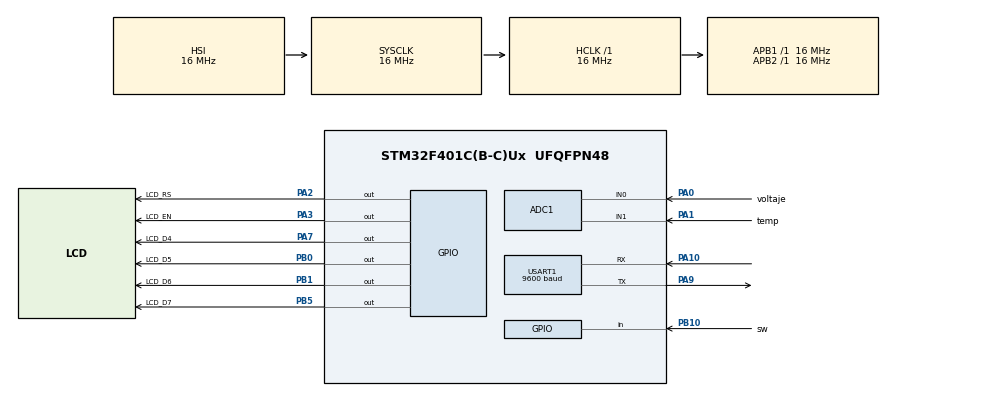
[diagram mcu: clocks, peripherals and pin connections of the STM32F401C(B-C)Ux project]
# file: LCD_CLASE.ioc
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ADC1.Channel-6\#ChannelRegularConversion=ADC_CHANNEL_0
ADC1.Channel-7\#ChannelRegularConversion=ADC_CHANNEL_1
ADC1.DiscontinuousConvMode=ENABLE
ADC1.NbrOfConversion=2
ADC1.NbrOfConversionFlag=1
ADC1.NbrOfDiscConversion=1
ADC1.Rank-6\#ChannelRegularConversion=1
ADC1.Rank-7\#ChannelRegularConversion=2
ADC1.SamplingTime-6\#ChannelRegularConversion=ADC_SAMPLETIME_3CYCLES
ADC1.SamplingTime-7\#ChannelRegularConversion=ADC_SAMPLETIME_3CYCLES
ADC1.ScanConvMode=ENABLE
ADC1.master=1
Mcu.Family=STM32F4
Mcu.Name=STM32F401C(B-C)Ux
Mcu.Package=UFQFPN48
Mcu.UserConstants=adc1,$$_ADC1_IP_HANDLE_$$
NVIC.PriorityGroup=NVIC_PRIORITYGROUP_4
PA0-WKUP.GPIO_Label=voltaje
PA0-WKUP.Signal=ADCx_IN0
PA1.GPIO_Label=temp
PA1.Signal=ADCx_IN1
PA10.Mode=Asynchronous
PA10.Signal=USART1_RX
PA2.GPIO_Label=LCD_RS
PA2.Signal=GPIO_Output
PA3.GPIO_Label=LCD_EN
PA3.Signal=GPIO_Output
PA7.GPIO_Label=LCD_D4
PA7.Signal=GPIO_Output
PA9.Mode=Asynchronous
PA9.Signal=USART1_TX
PB0.GPIO_Label=LCD_D5
PB0.Signal=GPIO_Output
PB1.GPIO_Label=LCD_D6
PB1.Signal=GPIO_Output
PB10.GPIO_Label=sw
PB10.GPIO_PuPd=GPIO_PULLUP
PB10.Signal=GPIO_Input
PB5.GPIO_Label=LCD_D7
PB5.Signal=GPIO_Output
PH0\ -\ OSC_IN.Mode=HSE-External-Oscillator
PH0\ -\ OSC_IN.Signal=RCC_OSC_IN
PH1\ -\ OSC_OUT.Mode=HSE-External-Oscillator
PH1\ -\ OSC_OUT.Signal=RCC_OSC_OUT
ProjectManager.HeapSize=0x200
ProjectManager.StackSize=0x400
ProjectManager.TargetToolchain=STM32CubeIDE
RCC.48MHZClocksFreq_Value=20480000
RCC.AHBFreq_Value=16000000
RCC.APB1Freq_Value=16000000
RCC.APB1TimFreq_Value=16000000
RCC.APB2Freq_Value=16000000
RCC.APB2TimFreq_Value=16000000
RCC.CortexFreq_Value=16000000
RCC.HCLKFreq_Value=16000000
RCC.HSE_VALUE=25000000
RCC.HSI_VALUE=16000000
RCC.LSE_VALUE=32768
RCC.PLLM=25
RCC.PLLN=128
RCC.SYSCLKFreq_VALUE=16000000
RCC.VCOOutputFreq_Value=81920000
SH.ADCx_IN0.0=ADC1_IN0,IN0
SH.ADCx_IN1.0=ADC1_IN1,IN1
USART1.BaudRate=9600
USART1.VirtualMode=VM_ASYNC
board=custom

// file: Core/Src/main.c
/* USER CODE BEGIN Header */
/**
  ******************************************************************************
  * @file           : main.c
  * @brief          : Main program body
  ******************************************************************************
  * @attention
  *
  * Copyright (c) 2023 STMicroelectronics.
  * All rights reserved.
  *
  * This software is licensed under terms that can be found in the LICENSE file
  * in the root directory of this software component.
  * If no LICENSE file comes with this software, it is provided AS-IS.
  *
  ******************************************************************************
  */
/* USER CODE END Header */
#include "main.h"

/* USER CODE BEGIN Includes */
#include "delays.h"
#include "lcd.h"
#include "stdio.h"
#include "string.h"
#include "uart.h"
#include  "printf_out.h"
#include "adc.h"

/* USER CODE END Includes */

ADC_HandleTypeDef hadc1;

UART_HandleTypeDef huart1;

/* USER CODE BEGIN PV */
char especial1[8] = {0x1B,0x1B,0x0,0x4,0x15,0x15,0xE,0x0};
char especial2[] = {0x1B,0x1B,0x11,0x11,0x11,0xA,0x4,0x1B};

char texto[50];

uint16_t cont8=0;
int16_t cont8s=-102;

float contf=0.2;

char ok[]="oks";

uint16_t codigo;
float voltaje, temperatura;

/* USER CODE END PV */

void SystemClock_Config(void);
static void MX_GPIO_Init(void);
static void MX_USART1_UART_Init(void);
static void MX_ADC1_Init(void);

int main(void)
{

  /* MCU Configuration--------------------------------------------------------*/

  /* Reset of all peripherals, Initializes the Flash interface and the Systick. */
  HAL_Init();

  /* Configure the system clock */
  SystemClock_Config();

  /* Initialize all configured peripherals */
  MX_GPIO_Init();
  MX_USART1_UART_Init();
  MX_ADC1_Init();
  /* USER CODE BEGIN 2 */
  HAL_Delay(200);
  delay_us_dwt_init();

    Lcd_Init();// inica el lcd
    Lcd_Cmd(_LCD_CLEAR);//borro pantalla

    Lcd_Cmd(_LCD_CURSOR_OFF);// apaga opcional

      Lcd_Text(1, 2, "SUSCRIBANSE");
/*
      Lcd_Text(3,3, "AL CANAL");
     Lcd_Chr(2, 8, '5');

     Lcd_Text_Cp("VOLT");
     Lcd_Chr_Cp('x');

     Lcd_chr_propio(2, 1, 1, especial1);
     Lcd_chr_propio(4, 4, 2, especial2);
*/

  /* USER CODE END 2 */

  /* Infinite loop */
  /* USER CODE BEGIN WHILE */
  while (1)
  {
	  //HAL_UART_Transmit(&huart1, "HOLA\r\n", 6, HAL_MAX_DELAY);
	//uartx_write_text(&huart1, "HOLA\n");
//	   usb_uart_write( "HOLA\r\n");

	 // printf( "HOLA\r\n");
      codigo=ADC_Read();
      voltaje=codigo*3.3/4095.0;

		 sprintf(texto,"Cod=%u",codigo);
	      Lcd_Text(2, 1, texto);
	       cont8++;

	      // printf("Codigo=%u\r\n",codigo);

	       sprintf(texto,"volt=%.1f",voltaje);
	            Lcd_Text(3, 1, texto);
	             cont8s--;
	             printf("volt=%.1f/\r\n",voltaje);

	             codigo=ADC_Read();
	             temperatura=codigo*100*3.3/4095.0;

     if (HAL_GPIO_ReadPin(sw_GPIO_Port, sw_Pin)==0) uartx_write_text(&huart1, "led1=on/");

     else  uartx_write_text(&huart1, "led1=off/");

         //    sprintf(texto,"CNT1=%-u CNT1=%3d",cont8,cont8s);
           //              Lcd_Text(4, 1, texto);

          //   sprintf(texto,"CNT2=%s",ok);
            //             Lcd_Text(4, 1, texto);

             sprintf(texto,"temp=%.2f",temperatura);
                   Lcd_Text(4, 1, texto);
                    contf+=0.65;

                    printf("temp=%.2f/\r\n",temperatura);

               //   sprintf(texto,"CNT1=%-u  CNT1=%3d   CNTf=%4.2f\r\n",cont8,cont8s,contf);
                 //    uartx_write_text(&huart1, texto);
                //   usb_uart_write(texto);

       //          printf("CoNT1=%-u  CNT1=%3d   CNTf=%4.2f\r\n",cont8,cont8s,contf);

                    Delay_ms(100);

    /* USER CODE END WHILE */

  }
}

void SystemClock_Config(void)
{
  RCC_OscInitTypeDef RCC_OscInitStruct = {0};
  RCC_ClkInitTypeDef RCC_ClkInitStruct = {0};

  /** Configure the main internal regulator output voltage
  */
  __HAL_RCC_PWR_CLK_ENABLE();
  __HAL_PWR_VOLTAGESCALING_CONFIG(PWR_REGULATOR_VOLTAGE_SCALE2);

  /** Initializes the RCC Oscillators according to the specified parameters
  * in the RCC_OscInitTypeDef structure.
  */
  RCC_OscInitStruct.OscillatorType = RCC_OSCILLATORTYPE_HSI;
  RCC_OscInitStruct.HSIState = RCC_HSI_ON;
  RCC_OscInitStruct.HSICalibrationValue = RCC_HSICALIBRATION_DEFAULT;
  RCC_OscInitStruct.PLL.PLLState = RCC_PLL_NONE;
  if (HAL_RCC_OscConfig(&RCC_OscInitStruct) != HAL_OK)
  {
    Error_Handler();
  }

  /** Initializes the CPU, AHB and APB buses clocks
  */
  RCC_ClkInitStruct.ClockType = RCC_CLOCKTYPE_HCLK|RCC_CLOCKTYPE_SYSCLK
                              |RCC_CLOCKTYPE_PCLK1|RCC_CLOCKTYPE_PCLK2;
  RCC_ClkInitStruct.SYSCLKSource = RCC_SYSCLKSOURCE_HSI;
  RCC_ClkInitStruct.AHBCLKDivider = RCC_SYSCLK_DIV1;
  RCC_ClkInitStruct.APB1CLKDivider = RCC_HCLK_DIV1;
  RCC_ClkInitStruct.APB2CLKDivider = RCC_HCLK_DIV1;

  if (HAL_RCC_ClockConfig(&RCC_ClkInitStruct, FLASH_LATENCY_0) != HAL_OK)
  {
    Error_Handler();
  }
}

static void MX_ADC1_Init(void)
{

  ADC_ChannelConfTypeDef sConfig = {0};

  /** Configure the global features of the ADC (Clock, Resolution, Data Alignment and number of conversion)
  */
  hadc1.Instance = ADC1;
  hadc1.Init.ClockPrescaler = ADC_CLOCK_SYNC_PCLK_DIV2;
  hadc1.Init.Resolution = ADC_RESOLUTION_12B;
  hadc1.Init.ScanConvMode = ENABLE;
  hadc1.Init.ContinuousConvMode = DISABLE;
  hadc1.Init.DiscontinuousConvMode = ENABLE;
  hadc1.Init.NbrOfDiscConversion = 1;
  hadc1.Init.ExternalTrigConvEdge = ADC_EXTERNALTRIGCONVEDGE_NONE;
  hadc1.Init.ExternalTrigConv = ADC_SOFTWARE_START;
  hadc1.Init.DataAlign = ADC_DATAALIGN_RIGHT;
  hadc1.Init.NbrOfConversion = 2;
  hadc1.Init.DMAContinuousRequests = DISABLE;
  hadc1.Init.EOCSelection = ADC_EOC_SINGLE_CONV;
  if (HAL_ADC_Init(&hadc1) != HAL_OK)
  {
    Error_Handler();
  }

  /** Configure for the selected ADC regular channel its corresponding rank in the sequencer and its sample time.
  */
  sConfig.Channel = ADC_CHANNEL_0;
  sConfig.Rank = 1;
  sConfig.SamplingTime = ADC_SAMPLETIME_3CYCLES;
  if (HAL_ADC_ConfigChannel(&hadc1, &sConfig) != HAL_OK)
  {
    Error_Handler();
  }

  /** Configure for the selected ADC regular channel its corresponding rank in the sequencer and its sample time.
  */
  sConfig.Channel = ADC_CHANNEL_1;
  sConfig.Rank = 2;
  if (HAL_ADC_ConfigChannel(&hadc1, &sConfig) != HAL_OK)
  {
    Error_Handler();
  }

}

static void MX_USART1_UART_Init(void)
{

  huart1.Instance = USART1;
  huart1.Init.BaudRate = 9600;
  huart1.Init.WordLength = UART_WORDLENGTH_8B;
  huart1.Init.StopBits = UART_STOPBITS_1;
  huart1.Init.Parity = UART_PARITY_NONE;
  huart1.Init.Mode = UART_MODE_TX_RX;
  huart1.Init.HwFlowCtl = UART_HWCONTROL_NONE;
  huart1.Init.OverSampling = UART_OVERSAMPLING_16;
  if (HAL_UART_Init(&huart1) != HAL_OK)
  {
    Error_Handler();
  }

}

static void MX_GPIO_Init(void)
{
  GPIO_InitTypeDef GPIO_InitStruct = {0};

  /* GPIO Ports Clock Enable */
  __HAL_RCC_GPIOH_CLK_ENABLE();
  __HAL_RCC_GPIOA_CLK_ENABLE();
  __HAL_RCC_GPIOB_CLK_ENABLE();

  /*Configure GPIO pin Output Level */
  HAL_GPIO_WritePin(GPIOA, LCD_RS_Pin|LCD_EN_Pin|LCD_D4_Pin, GPIO_PIN_RESET);

  /*Configure GPIO pin Output Level */
  HAL_GPIO_WritePin(GPIOB, LCD_D5_Pin|LCD_D6_Pin|LCD_D7_Pin, GPIO_PIN_RESET);

  /*Configure GPIO pins : LCD_RS_Pin LCD_EN_Pin LCD_D4_Pin */
  GPIO_InitStruct.Pin = LCD_RS_Pin|LCD_EN_Pin|LCD_D4_Pin;
  GPIO_InitStruct.Mode = GPIO_MODE_OUTPUT_PP;
  GPIO_InitStruct.Pull = GPIO_NOPULL;
  GPIO_InitStruct.Speed = GPIO_SPEED_FREQ_LOW;
  HAL_GPIO_Init(GPIOA, &GPIO_InitStruct);

  /*Configure GPIO pins : LCD_D5_Pin LCD_D6_Pin LCD_D7_Pin */
  GPIO_InitStruct.Pin = LCD_D5_Pin|LCD_D6_Pin|LCD_D7_Pin;
  GPIO_InitStruct.Mode = GPIO_MODE_OUTPUT_PP;
  GPIO_InitStruct.Pull = GPIO_NOPULL;
  GPIO_InitStruct.Speed = GPIO_SPEED_FREQ_LOW;
  HAL_GPIO_Init(GPIOB, &GPIO_InitStruct);

  /*Configure GPIO pin : sw_Pin */
  GPIO_InitStruct.Pin = sw_Pin;
  GPIO_InitStruct.Mode = GPIO_MODE_INPUT;
  GPIO_InitStruct.Pull = GPIO_PULLUP;
  HAL_GPIO_Init(sw_GPIO_Port, &GPIO_InitStruct);

}

void Error_Handler(void)
{
  __disable_irq();
  while (1)
  {
  }
}
